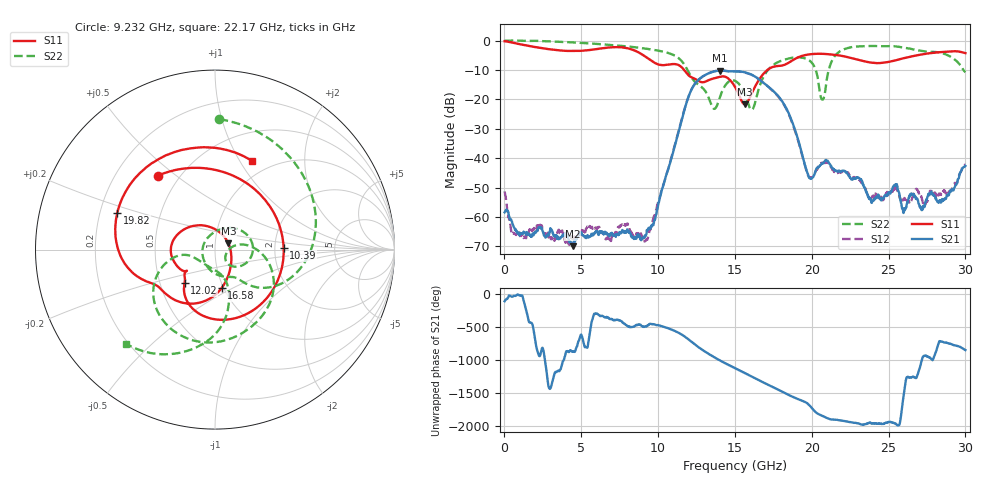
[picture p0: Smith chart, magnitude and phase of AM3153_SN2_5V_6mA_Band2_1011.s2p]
!Agilent Technologies,E8364B,MY43040894,A.07.50.67
!Agilent E8364B: A.07.50.67
!Date: Tuesday, May 12, 2020 09:52:18
!Correction: S11(Full 2 Port(1,2))
!S21(Full 2 Port(1,2))
!S12(Full 2 Port(1,2))
!S22(Full 2 Port(1,2))
!S2P File: Measurements: S11, S21, S12, S22:
# Hz S  dB  R 50
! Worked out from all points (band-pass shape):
!   1601 points, 10 MHz to 30 GHz, reference 50 ohm
!   highest |S21| = -10.19 dB at 14.03 GHz (marker M1); lowest = -70.0 dB at 4.434 GHz (marker M2)
!   |S21| within 3 dB of the highest: 12.66 GHz to 16.58 GHz (3.923 GHz wide, 26.8 % of centre)
!   lowest |S11| = -21.7 dB at 15.64 GHz (marker M3), VSWR 1.18, Z = 57.9 + j4.01 ohm
!   |S11| at or under -10 dB: 11.69 GHz to 17.11 GHz (5.416 GHz wide, 37.6 % of centre)
!   |S22| runs from -23.6 to 0.1 dB; largest |S21 - S12| = 0.0067
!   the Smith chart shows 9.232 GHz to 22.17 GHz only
!   S11 on the Smith chart (normalised r, x): 9.232 GHz: 0.38, +0.43; 10.39 GHz: 2.24, +0.05; 12.02 GHz: 0.67, -0.26; 16.58 GHz: 0.98, -0.44; 19.82 GHz: 0.27, +0.17; 22.17 GHz: 0.82, +1.13
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1e7  -0.20 -6.1  -58.44 -112.0  -51.29 6.7  0.01 -1.6
1.05965e9  -1.28 -80.9  -65.58 -26.1  -66.30 111.0  -0.04 -31.2
2.315481e9  -2.48 -159.3  -63.46 144.0  -62.68 3.0  -0.14 -67.9
4.433525e9  -3.54 84.4  -69.97 -152.5  -66.72 -43.7  -0.61 -127.8
5.014581e9  -3.46 51.4  -65.46 94.4  -64.87 -110.2  -0.78 -144.1
7.320062e9  -2.22 -88.8  -66.03 -31.8  -65.03 -27.2  -1.66 150.3
8.350969e9  -3.12 -159.9  -66.94 -139.9  -65.96 37.0  -2.15 118.3
9.231925e9  -5.66 127.7  -65.85 -130.9  -67.59 -178.4  -2.77 88.1
1.001916e10  -8.11 44.7  -55.47 -113.2  -55.02 -113.3  -3.42 57.2
1.039404e10  -8.35 1.4  -48.21 -141.2  -48.28 -141.6  -3.84 40.7
1.202474e10  -12.01 -132.4  -18.46 22.4  -18.41 21.3  -11.11 -45.7
1.403032e10  -12.31 -168.7  -10.19 71.9  -10.15 71.2  -19.11 79.7
1.5005e10  -15.72 124.1  -10.42 -42.4  -10.49 -43.6  -13.69 -9.2
1.564229e10  -21.70 24.7  -10.78 -117.6  -10.87 -117.9  -18.08 -45.9
1.657948e10  -13.23 -80.3  -13.20 130.9  -13.18 130.2  -15.94 10.2
1.982214e10  -4.71 159.3  -46.42 121.5  -46.57 123.5  -6.67 -134.7
2.000958e10  -4.59 152.2  -46.80 71.5  -46.53 71.8  -7.55 -145.2
2.07031e10  -4.49 126.1  -41.78 -47.4  -41.60 -46.6  -20.09 -119.8
2.216511e10  -5.43 67.4  -44.55 -124.4  -44.63 -129.7  -2.81 -133.6
2.501416e10  -7.24 -96.1  -51.60 -138.8  -52.34 -121.1  -1.88 135.4
2.701974e10  -4.84 165.6  -56.49 -50.9  -53.11 161.7  -3.41 84.5
3e10  -4.25 80.7  -42.65 -130.5  -42.27 -136.5  -10.77 -9.4
